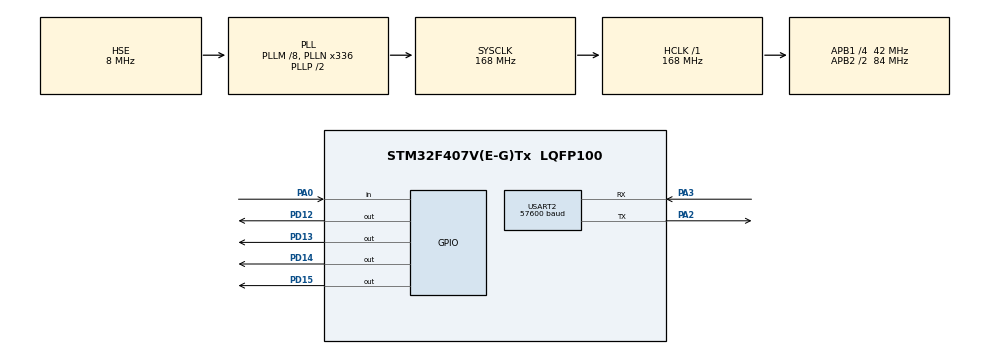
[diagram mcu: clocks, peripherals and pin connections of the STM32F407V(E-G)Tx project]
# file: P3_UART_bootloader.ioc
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Mcu.Family=STM32F4
Mcu.Name=STM32F407V(E-G)Tx
Mcu.Package=LQFP100
NVIC.PriorityGroup=NVIC_PRIORITYGROUP_0
PA0-WKUP.Signal=GPIO_Input
PA13.Mode=Serial_Wire
PA13.Signal=SYS_JTMS-SWDIO
PA14.Mode=Serial_Wire
PA14.Signal=SYS_JTCK-SWCLK
PA2.Mode=Asynchronous
PA2.Signal=USART2_TX
PA3.Mode=Asynchronous
PA3.Signal=USART2_RX
PD12.Signal=GPIO_Output
PD13.Signal=GPIO_Output
PD14.Signal=GPIO_Output
PD15.Signal=GPIO_Output
PH0-OSC_IN.Mode=HSE-External-Oscillator
PH0-OSC_IN.Signal=RCC_OSC_IN
PH1-OSC_OUT.Mode=HSE-External-Oscillator
PH1-OSC_OUT.Signal=RCC_OSC_OUT
ProjectManager.HeapSize=0x200
ProjectManager.StackSize=0x400
ProjectManager.TargetToolchain=STM32CubeIDE
RCC.48MHZClocksFreq_Value=48000000
RCC.AHBFreq_Value=168000000
RCC.APB1CLKDivider=RCC_HCLK_DIV4
RCC.APB1Freq_Value=42000000
RCC.APB1TimFreq_Value=84000000
RCC.APB2CLKDivider=RCC_HCLK_DIV2
RCC.APB2Freq_Value=84000000
RCC.APB2TimFreq_Value=168000000
RCC.CortexFreq_Value=168000000
RCC.HCLKFreq_Value=168000000
RCC.HSE_VALUE=8000000
RCC.HSI_VALUE=16000000
RCC.PLLM=8
RCC.PLLN=336
RCC.PLLQ=7
RCC.PLLSourceVirtual=RCC_PLLSOURCE_HSE
RCC.SYSCLKFreq_VALUE=168000000
RCC.SYSCLKSource=RCC_SYSCLKSOURCE_PLLCLK
RCC.VCOOutputFreq_Value=336000000
USART2.BaudRate=57600
USART2.VirtualMode=VM_ASYNC
board=STM32F407G-DISC1

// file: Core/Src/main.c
/* USER CODE BEGIN Header */
/**
  ******************************************************************************
  * @file           : main.c
  * @brief          : Main program body
  ******************************************************************************
  * @attention
  *
  * Copyright (c) 2026 STMicroelectronics.
  * All rights reserved.
  *
  * This software is licensed under terms that can be found in the LICENSE file
  * in the root directory of this software component.
  * If no LICENSE file comes with this software, it is provided AS-IS.
  *
  ******************************************************************************
  */
/* USER CODE END Header */
#include "main.h"
#include "usart.h"
#include "gpio.h"

/* USER CODE BEGIN Includes */
#include <string.h>
/* USER CODE END Includes */

/* USER CODE BEGIN PD */
#define APP_ADDR      0x08008000U

#define SOF           0xA5
#define ACK           0x79
#define NACK          0x1F
#define MAX_PAYLOAD   128
#define BL_VERSION    0x01
enum {
	CMD_GET_VER = 0x01,
	CMD_ERASE = 0x02,
	CMD_WRITE = 0x03,
	CMD_JUMP = 0x04
};
/* USER CODE END PD */

/* USER CODE BEGIN PV */
static uint8_t rx[2 + MAX_PAYLOAD];   /* rx[0]=cmd, rx[1]=len, rx[2..]=payload */
/* USER CODE END PV */

void SystemClock_Config(void);

/* USER CODE BEGIN 0 */
static int app_is_valid(void)
{
    uint32_t msp = *(volatile uint32_t *)APP_ADDR;
    uint32_t rst = *(volatile uint32_t *)(APP_ADDR + 4U);
    return (msp >= 0x20000000U && msp <= 0x20020000U) &&
           (rst >= APP_ADDR && rst <= FLASH_END);
}

static void jump_to_app(void)
{
    uint32_t msp = *(volatile uint32_t *)APP_ADDR;
    uint32_t rst = *(volatile uint32_t *)(APP_ADDR + 4U);
    void (*app_reset)(void) = (void (*)(void))rst;

    HAL_UART_DeInit(&huart2);
    HAL_RCC_DeInit();
    HAL_DeInit();
    SysTick->CTRL = 0; SysTick->LOAD = 0; SysTick->VAL = 0;
    __disable_irq();
    for (int i = 0; i < 8; i++) { NVIC->ICER[i] = 0xFFFFFFFFU; NVIC->ICPR[i] = 0xFFFFFFFFU; }

    SCB->VTOR = APP_ADDR;     /* relocate vector table */
    __set_MSP(msp);           /* use the app's stack */
    __enable_irq();

    app_reset();              /* never returns */
}

/* Software CRC32, matches Python zlib.crc32 */
static uint32_t crc32_sw(const uint8_t *d, uint32_t n)
{
    uint32_t crc = 0xFFFFFFFFU;
    while (n--) {
        crc ^= *d++;
        for (int i = 0; i < 8; i++)
            crc = (crc >> 1) ^ (0xEDB88320U & (uint32_t)(-(int32_t)(crc & 1U)));
    }
    return ~crc;
}

static void send_byte(uint8_t b) { HAL_UART_Transmit(&huart2, &b, 1, 100); }

static void uart_flush(void)
{
    uint8_t d;
    __HAL_UART_CLEAR_OREFLAG(&huart2);
    while (HAL_UART_Receive(&huart2, &d, 1, 20) == HAL_OK) { }
}

/* returns 0 on a good packet, -1 on error */
static int recv_packet(void)
{
    uint8_t b, c[4];

    do {                                   /* wait for start byte */
        HAL_UART_Receive(&huart2, &b, 1, HAL_MAX_DELAY);
    } while (b != SOF);

    if (HAL_UART_Receive(&huart2, rx, 2, 200) != HAL_OK) return -1;
    uint8_t len = rx[1];
    if (len > MAX_PAYLOAD) return -1;
    if (len && HAL_UART_Receive(&huart2, rx + 2, len, 500) != HAL_OK) return -1;
    if (HAL_UART_Receive(&huart2, c, 4, 200) != HAL_OK) return -1;

    uint32_t got = (uint32_t)c[0] | ((uint32_t)c[1] << 8) |
                   ((uint32_t)c[2] << 16) | ((uint32_t)c[3] << 24);
    return (got == crc32_sw(rx, 2U + len)) ? 0 : -1;
}

static HAL_StatusTypeDef flash_erase_sectors(uint32_t first, uint32_t n)
{
    FLASH_EraseInitTypeDef e = {0};
    uint32_t err;
    e.TypeErase    = FLASH_TYPEERASE_SECTORS;
    e.Sector       = first;
    e.NbSectors    = n;
    e.VoltageRange = FLASH_VOLTAGE_RANGE_3;      /* 2.7-3.6 V, word writes */
    HAL_FLASH_Unlock();
    HAL_StatusTypeDef s = HAL_FLASHEx_Erase(&e, &err);
    HAL_FLASH_Lock();
    return s;
}

static HAL_StatusTypeDef flash_write(uint32_t addr, const uint8_t *data, uint32_t len)
{
    HAL_StatusTypeDef s = HAL_OK;
    HAL_FLASH_Unlock();
    for (uint32_t i = 0; i < len && s == HAL_OK; i += 4) {
        uint32_t w;
        memcpy(&w, data + i, 4);
        s = HAL_FLASH_Program(FLASH_TYPEPROGRAM_WORD, addr + i, w);
    }
    HAL_FLASH_Lock();
    return s;
}

static void handle_cmd(void)
{
    uint8_t  cmd = rx[0], len = rx[1];
    uint8_t *p   = &rx[2];

    switch (cmd) {
    case CMD_GET_VER:
        send_byte(ACK); send_byte(BL_VERSION);
        break;

    case CMD_ERASE:
        if (len == 2 && p[1] > 0 && p[0] >= 2 && (p[0] + p[1]) <= 12 &&
            flash_erase_sectors(p[0], p[1]) == HAL_OK)
            send_byte(ACK);
        else
            send_byte(NACK);
        break;

    case CMD_WRITE: {
        uint32_t addr, n = (len >= 4) ? (uint32_t)(len - 4) : 0;
        if (len < 8 || (n & 3U)) { send_byte(NACK); break; }
        memcpy(&addr, p, 4);
        if ((addr & 3U) ||
            addr < APP_ADDR ||
            addr > FLASH_END ||
            n == 0U ||
            n > (FLASH_END - addr + 1U)) {
            send_byte(NACK);
            break;
        }
        send_byte(flash_write(addr, p + 4, n) == HAL_OK ? ACK : NACK);
        break;
    }

    case CMD_JUMP:
        if (app_is_valid()) {
            send_byte(ACK);
            HAL_Delay(20);          /* let the last byte leave the UART */
            NVIC_SystemReset();     /* clean boot, which jumps to the app */
        } else
            send_byte(NACK);
        break;

    default:
        send_byte(NACK);
    }
}

/* USER CODE END 0 */

int main(void)
{

  /* MCU Configuration--------------------------------------------------------*/

  /* Reset of all peripherals, Initializes the Flash interface and the Systick. */
  HAL_Init();

  /* Configure the system clock */
  SystemClock_Config();

  /* Initialize all configured peripherals */
  MX_GPIO_Init();
  MX_USART2_UART_Init();
  /* USER CODE BEGIN 2 */
  int force_bl = (HAL_GPIO_ReadPin(GPIOA, GPIO_PIN_0) == GPIO_PIN_SET);

  if (app_is_valid() && !force_bl)
  {
      jump_to_app();
  }

  HAL_GPIO_WritePin(GPIOD, GPIO_PIN_12, GPIO_PIN_SET);

  /* USER CODE END 2 */

  /* Infinite loop */
  while (1)
  {

    /* USER CODE BEGIN 3 */
    if (recv_packet() == 0)
    {
        handle_cmd();
    }
    else
    {
        uart_flush();
        send_byte(NACK);
        HAL_GPIO_TogglePin(GPIOD, GPIO_PIN_14);
    }
  }
  /* USER CODE END 3 */
}

void SystemClock_Config(void)
{
  RCC_OscInitTypeDef RCC_OscInitStruct = {0};
  RCC_ClkInitTypeDef RCC_ClkInitStruct = {0};

  /** Configure the main internal regulator output voltage
  */
  __HAL_RCC_PWR_CLK_ENABLE();
  __HAL_PWR_VOLTAGESCALING_CONFIG(PWR_REGULATOR_VOLTAGE_SCALE1);

  /** Initializes the RCC Oscillators according to the specified parameters
  * in the RCC_OscInitTypeDef structure.
  */
  RCC_OscInitStruct.OscillatorType = RCC_OSCILLATORTYPE_HSE;
  RCC_OscInitStruct.HSEState = RCC_HSE_ON;
  RCC_OscInitStruct.PLL.PLLState = RCC_PLL_ON;
  RCC_OscInitStruct.PLL.PLLSource = RCC_PLLSOURCE_HSE;
  RCC_OscInitStruct.PLL.PLLM = 8;
  RCC_OscInitStruct.PLL.PLLN = 336;
  RCC_OscInitStruct.PLL.PLLP = RCC_PLLP_DIV2;
  RCC_OscInitStruct.PLL.PLLQ = 7;
  if (HAL_RCC_OscConfig(&RCC_OscInitStruct) != HAL_OK)
  {
    Error_Handler();
  }

  /** Initializes the CPU, AHB and APB buses clocks
  */
  RCC_ClkInitStruct.ClockType = RCC_CLOCKTYPE_HCLK|RCC_CLOCKTYPE_SYSCLK
                              |RCC_CLOCKTYPE_PCLK1|RCC_CLOCKTYPE_PCLK2;
  RCC_ClkInitStruct.SYSCLKSource = RCC_SYSCLKSOURCE_PLLCLK;
  RCC_ClkInitStruct.AHBCLKDivider = RCC_SYSCLK_DIV1;
  RCC_ClkInitStruct.APB1CLKDivider = RCC_HCLK_DIV4;
  RCC_ClkInitStruct.APB2CLKDivider = RCC_HCLK_DIV2;

  if (HAL_RCC_ClockConfig(&RCC_ClkInitStruct, FLASH_LATENCY_5) != HAL_OK)
  {
    Error_Handler();
  }
}

void Error_Handler(void)
{
  __disable_irq();
  while (1)
  {
  }
}
